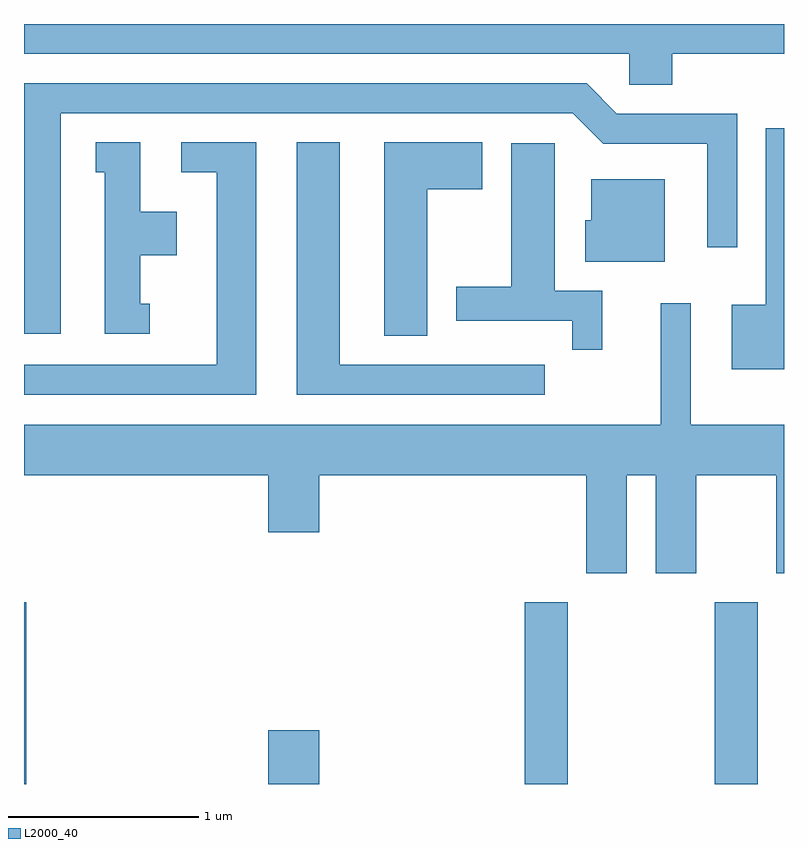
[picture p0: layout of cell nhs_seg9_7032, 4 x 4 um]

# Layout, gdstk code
import gdstk
lib = gdstk.Library(unit=1e-6, precision=1e-09)
def R(c, l, rs):  # rectangles x0, y0, x1, y1
    for r in rs: c.add(gdstk.rectangle(r[:2], r[2:], *l))
def P(c, l, *ps):  # polygons
    for p in ps: c.add(gdstk.Polygon(p, *l))
L2000_40 = (2000, 40)

nhs_seg9_7032 = lib.new_cell('nhs_seg9_7032')
R(nhs_seg9_7032, L2000_40, [(393.611,1972.432,393.624,1973.389), (394.896,1972.432,395.164,1972.714), (396.246,1972.432,396.474,1973.389), (397.246,1972.432,397.474,1973.389)])
P(nhs_seg9_7032, L2000_40, [(397.024,1976.276),(397.611,1976.276),(397.611,1976.432),(393.611,1976.432),(393.611,1976.276),(396.796,1976.276),(396.796,1976.111),(397.024,1976.111)],
  [(393.804,1975.961),(396.499,1975.961),(396.659,1975.801),(397.206,1975.801),(397.206,1975.258),(397.364,1975.258),(397.364,1975.959),(396.732,1975.959),(396.572,1976.119),(393.611,1976.119),(393.611,1974.801),(393.804,1974.801)],
  [(397.611,1975.883),(397.516,1975.883),(397.516,1974.954),(397.336,1974.954),(397.336,1974.616),(397.611,1974.616)],
  [(395.734,1975.561),(396.024,1975.561),(396.024,1975.809),(395.506,1975.809),(395.506,1974.791),(395.734,1974.791)],
  [(396.353,1974.639),(395.274,1974.639),(395.274,1975.809),(395.046,1975.809),(395.046,1974.481),(396.353,1974.481)],
  [(394.834,1975.809),(394.438,1975.809),(394.438,1975.651),(394.626,1975.651),(394.626,1974.639),(393.611,1974.639),(393.611,1974.481),(394.834,1974.481)],
  [(394.273,1974.959),(394.224,1974.959),(394.224,1975.216),(394.414,1975.216),(394.414,1975.444),(394.224,1975.444),(394.224,1975.809),(393.988,1975.809),(393.988,1975.651),(394.036,1975.651),(394.036,1974.801),(394.273,1974.801)],
  [(396.654,1975.029),(396.404,1975.029),(396.404,1975.804),(396.176,1975.804),(396.176,1975.049),(395.886,1975.049),(395.886,1974.871),(396.496,1974.871),(396.496,1974.718),(396.654,1974.718)],
  [(396.984,1975.614),(396.596,1975.614),(396.596,1975.399),(396.566,1975.399),(396.566,1975.181),(396.984,1975.181)],
  [(396.784,1974.056),(396.936,1974.056),(396.936,1973.541),(397.149,1973.541),(397.149,1974.056),(397.571,1974.056),(397.571,1973.541),(397.611,1973.541),(397.611,1974.324),(397.119,1974.324),(397.119,1974.963),(396.961,1974.963),(396.961,1974.324),(393.611,1974.324),(393.611,1974.056),(394.896,1974.056),(394.896,1973.756),(395.164,1973.756),(395.164,1974.056),(396.571,1974.056),(396.571,1973.541),(396.784,1973.541)])

lib.write_gds('nhs_seg9_7032.gds')
